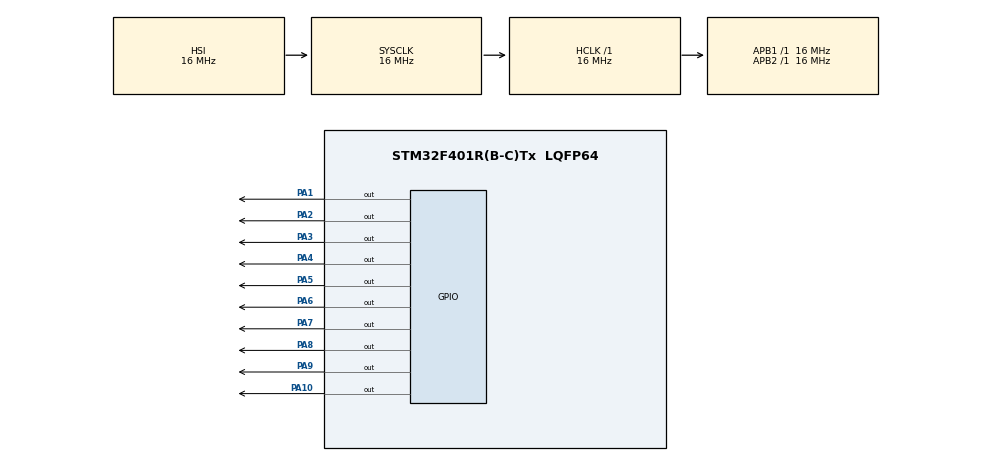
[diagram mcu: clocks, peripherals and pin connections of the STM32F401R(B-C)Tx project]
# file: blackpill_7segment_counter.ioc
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Mcu.Family=STM32F4
Mcu.Name=STM32F401R(B-C)Tx
Mcu.Package=LQFP64
NVIC.PriorityGroup=NVIC_PRIORITYGROUP_4
PA1.PinState=GPIO_PIN_SET
PA1.Signal=GPIO_Output
PA10.PinState=GPIO_PIN_SET
PA10.Signal=GPIO_Output
PA2.PinState=GPIO_PIN_SET
PA2.Signal=GPIO_Output
PA3.PinState=GPIO_PIN_SET
PA3.Signal=GPIO_Output
PA4.PinState=GPIO_PIN_SET
PA4.Signal=GPIO_Output
PA5.PinState=GPIO_PIN_SET
PA5.Signal=GPIO_Output
PA6.PinState=GPIO_PIN_SET
PA6.Signal=GPIO_Output
PA7.PinState=GPIO_PIN_SET
PA7.Signal=GPIO_Output
PA8.PinState=GPIO_PIN_SET
PA8.Signal=GPIO_Output
PA9.PinState=GPIO_PIN_SET
PA9.Signal=GPIO_Output
ProjectManager.HeapSize=0x200
ProjectManager.StackSize=0x400
ProjectManager.TargetToolchain=STM32CubeIDE
RCC.AHBFreq_Value=16000000
RCC.APB1Freq_Value=16000000
RCC.APB2Freq_Value=16000000
RCC.CortexFreq_Value=16000000
RCC.HSE_VALUE=25000000
RCC.HSI_VALUE=16000000
RCC.LSE_VALUE=32768
RCC.SYSCLKFreq_VALUE=16000000
RCC.VCOOutputFreq_Value=192000000
board=custom

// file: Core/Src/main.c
/* USER CODE BEGIN Header */
/**
  ******************************************************************************
  * @file           : main.c
  * @brief          : Main program body
  ******************************************************************************
  * @attention
  *
  * Copyright (c) 2025 STMicroelectronics.
  * All rights reserved.
  *
  * This software is licensed under terms that can be found in the LICENSE file
  * in the root directory of this software component.
  * If no LICENSE file comes with this software, it is provided AS-IS.
  *
  ******************************************************************************
  */
/* USER CODE END Header */
#include "main.h"

void SystemClock_Config(void);
static void MX_GPIO_Init(void);

int main(void)
{

  /* MCU Configuration--------------------------------------------------------*/

  /* Reset of all peripherals, Initializes the Flash interface and the Systick. */
  HAL_Init();

  /* Configure the system clock */
  SystemClock_Config();

  /* Initialize all configured peripherals */
  MX_GPIO_Init();
  /* USER CODE BEGIN 2 */

  void reset()
  {
	  HAL_GPIO_WritePin(GPIOA, GPIO_PIN_1, 1);
	  HAL_GPIO_WritePin(GPIOA, GPIO_PIN_2, 1);
	  HAL_GPIO_WritePin(GPIOA, GPIO_PIN_3, 1);
	  HAL_GPIO_WritePin(GPIOA, GPIO_PIN_4, 1);
	  HAL_GPIO_WritePin(GPIOA, GPIO_PIN_5, 1);
	  HAL_GPIO_WritePin(GPIOA, GPIO_PIN_6, 1);
	  HAL_GPIO_WritePin(GPIOA, GPIO_PIN_7, 1);
	  HAL_GPIO_WritePin(GPIOA, GPIO_PIN_8, 1);
	  HAL_GPIO_WritePin(GPIOA, GPIO_PIN_9, 1);
	  HAL_GPIO_WritePin(GPIOA, GPIO_PIN_10, 1);
  }

  void zero()
  {
	  reset();
	  HAL_GPIO_WritePin(GPIOA, GPIO_PIN_7, 0);
	  HAL_GPIO_WritePin(GPIOA, GPIO_PIN_6, 0);
	  HAL_GPIO_WritePin(GPIOA, GPIO_PIN_4, 0);
	  HAL_GPIO_WritePin(GPIOA, GPIO_PIN_2, 0);
	  HAL_GPIO_WritePin(GPIOA, GPIO_PIN_1, 0);
	  HAL_GPIO_WritePin(GPIOA, GPIO_PIN_9, 0);

  }

  void one()
  {
	  reset();
	  HAL_GPIO_WritePin(GPIOA, GPIO_PIN_6, 0);
	  HAL_GPIO_WritePin(GPIOA, GPIO_PIN_4, 0);
  }

  void two()
  {
	  reset();
	  HAL_GPIO_WritePin(GPIOA, GPIO_PIN_7, 0);
	  HAL_GPIO_WritePin(GPIOA, GPIO_PIN_6, 0);
	  HAL_GPIO_WritePin(GPIOA, GPIO_PIN_10, 0);
	  HAL_GPIO_WritePin(GPIOA, GPIO_PIN_1, 0);
	  HAL_GPIO_WritePin(GPIOA, GPIO_PIN_2, 0);
  }

  void three()
  {
	  reset();
	  HAL_GPIO_WritePin(GPIOA, GPIO_PIN_7, 0);
	  HAL_GPIO_WritePin(GPIOA, GPIO_PIN_6, 0);
	  HAL_GPIO_WritePin(GPIOA, GPIO_PIN_10, 0);
	  HAL_GPIO_WritePin(GPIOA, GPIO_PIN_4, 0);
	  HAL_GPIO_WritePin(GPIOA, GPIO_PIN_2, 0);
  }

  void four()
  {
	  reset();
	  HAL_GPIO_WritePin(GPIOA, GPIO_PIN_9, 0);
	  HAL_GPIO_WritePin(GPIOA, GPIO_PIN_10, 0);
	  HAL_GPIO_WritePin(GPIOA, GPIO_PIN_6, 0);
	  HAL_GPIO_WritePin(GPIOA, GPIO_PIN_4, 0);
  }

  void five()
  {
	  reset();
	  HAL_GPIO_WritePin(GPIOA, GPIO_PIN_7, 0);
	  HAL_GPIO_WritePin(GPIOA, GPIO_PIN_9, 0);
	  HAL_GPIO_WritePin(GPIOA, GPIO_PIN_10, 0);
	  HAL_GPIO_WritePin(GPIOA, GPIO_PIN_4, 0);
	  HAL_GPIO_WritePin(GPIOA, GPIO_PIN_2, 0);
  }

  void six()
  {
	  reset();
	  five();
	  HAL_GPIO_WritePin(GPIOA, GPIO_PIN_1, 0);
  }

  void seven()
  {
	  reset();
	  one();
	  HAL_GPIO_WritePin(GPIOA, GPIO_PIN_7, 0);
  }

  void eight()
  {
	  reset();
	  zero();
	  HAL_GPIO_WritePin(GPIOA, GPIO_PIN_10, 0);

  }

  void nine()
  {
	  reset();
	  eight();
	  HAL_GPIO_WritePin(GPIOA, GPIO_PIN_1, 1);
  }

  /* USER CODE END 2 */

  /* Infinite loop */
  while (1)
  {

    /* USER CODE BEGIN 3 */

	  zero();
	  HAL_Delay(500);
	  one();
	  HAL_Delay(500);
	  two();
	  HAL_Delay(500);
	  three();
	  HAL_Delay(500);
	  four();
	  HAL_Delay(500);
	  five();
	  HAL_Delay(500);
	  six();
	  HAL_Delay(500);
	  seven();
	  HAL_Delay(500);
	  eight();
	  HAL_Delay(500);
	  nine();
	  HAL_Delay(500);

  }
  /* USER CODE END 3 */
}

void SystemClock_Config(void)
{
  RCC_OscInitTypeDef RCC_OscInitStruct = {0};
  RCC_ClkInitTypeDef RCC_ClkInitStruct = {0};

  /** Configure the main internal regulator output voltage
  */
  __HAL_RCC_PWR_CLK_ENABLE();
  __HAL_PWR_VOLTAGESCALING_CONFIG(PWR_REGULATOR_VOLTAGE_SCALE2);

  /** Initializes the RCC Oscillators according to the specified parameters
  * in the RCC_OscInitTypeDef structure.
  */
  RCC_OscInitStruct.OscillatorType = RCC_OSCILLATORTYPE_HSI;
  RCC_OscInitStruct.HSIState = RCC_HSI_ON;
  RCC_OscInitStruct.HSICalibrationValue = RCC_HSICALIBRATION_DEFAULT;
  RCC_OscInitStruct.PLL.PLLState = RCC_PLL_NONE;
  if (HAL_RCC_OscConfig(&RCC_OscInitStruct) != HAL_OK)
  {
    Error_Handler();
  }

  /** Initializes the CPU, AHB and APB buses clocks
  */
  RCC_ClkInitStruct.ClockType = RCC_CLOCKTYPE_HCLK|RCC_CLOCKTYPE_SYSCLK
                              |RCC_CLOCKTYPE_PCLK1|RCC_CLOCKTYPE_PCLK2;
  RCC_ClkInitStruct.SYSCLKSource = RCC_SYSCLKSOURCE_HSI;
  RCC_ClkInitStruct.AHBCLKDivider = RCC_SYSCLK_DIV1;
  RCC_ClkInitStruct.APB1CLKDivider = RCC_HCLK_DIV1;
  RCC_ClkInitStruct.APB2CLKDivider = RCC_HCLK_DIV1;

  if (HAL_RCC_ClockConfig(&RCC_ClkInitStruct, FLASH_LATENCY_0) != HAL_OK)
  {
    Error_Handler();
  }
}

static void MX_GPIO_Init(void)
{
  GPIO_InitTypeDef GPIO_InitStruct = {0};

  /* GPIO Ports Clock Enable */
  __HAL_RCC_GPIOA_CLK_ENABLE();

  /*Configure GPIO pin Output Level */
  HAL_GPIO_WritePin(GPIOA, GPIO_PIN_1|GPIO_PIN_2|GPIO_PIN_3|GPIO_PIN_4
                          |GPIO_PIN_5|GPIO_PIN_6|GPIO_PIN_7|GPIO_PIN_8
                          |GPIO_PIN_9|GPIO_PIN_10, GPIO_PIN_SET);

  /*Configure GPIO pins : PA1 PA2 PA3 PA4
                           PA5 PA6 PA7 PA8
                           PA9 PA10 */
  GPIO_InitStruct.Pin = GPIO_PIN_1|GPIO_PIN_2|GPIO_PIN_3|GPIO_PIN_4
                          |GPIO_PIN_5|GPIO_PIN_6|GPIO_PIN_7|GPIO_PIN_8
                          |GPIO_PIN_9|GPIO_PIN_10;
  GPIO_InitStruct.Mode = GPIO_MODE_OUTPUT_PP;
  GPIO_InitStruct.Pull = GPIO_NOPULL;
  GPIO_InitStruct.Speed = GPIO_SPEED_FREQ_LOW;
  HAL_GPIO_Init(GPIOA, &GPIO_InitStruct);

}

void Error_Handler(void)
{
  __disable_irq();
  while (1)
  {
  }
}
